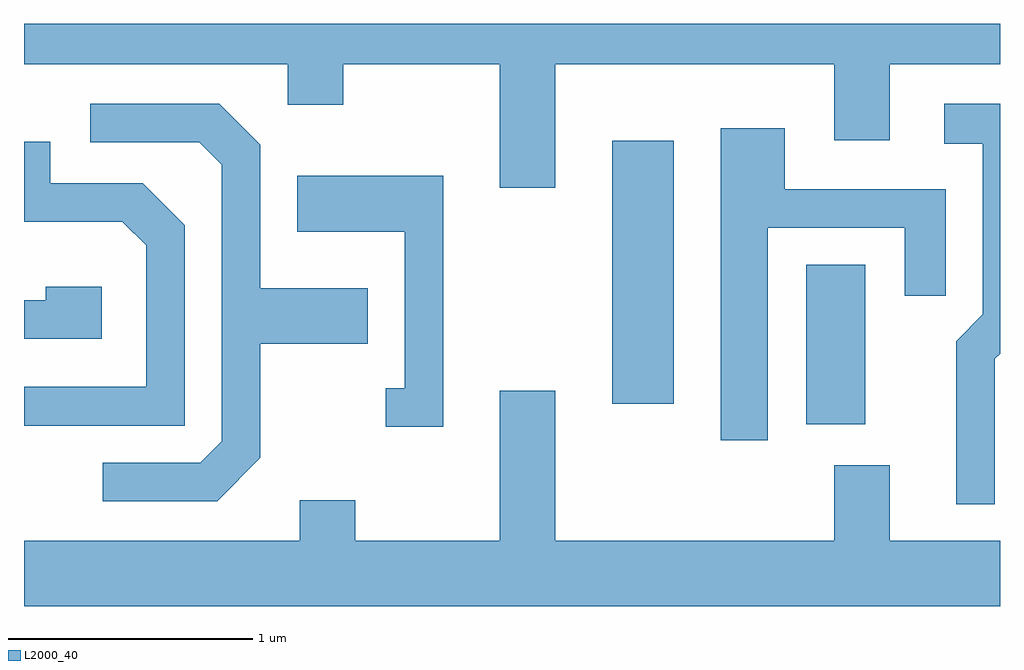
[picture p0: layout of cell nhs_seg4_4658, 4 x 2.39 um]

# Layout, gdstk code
import gdstk
lib = gdstk.Library(unit=1e-6, precision=1e-09)
def R(c, l, rs):  # rectangles x0, y0, x1, y1
    for r in rs: c.add(gdstk.rectangle(r[:2], r[2:], *l))
def P(c, l, *ps):  # polygons
    for p in ps: c.add(gdstk.Polygon(p, *l))
L2000_40 = (2000, 40)

nhs_seg4_4658 = lib.new_cell('nhs_seg4_4658')
R(nhs_seg4_4658, L2000_40, [(324.816,1324.341,325.059,1324.994), (324.021,1324.426,324.274,1325.504)])
P(nhs_seg4_4658, L2000_40, [(323.789,1325.816),(324.931,1325.816),(324.931,1325.506),(325.159,1325.506),(325.159,1325.816),(325.611,1325.816),(325.611,1325.982),(321.611,1325.982),(321.611,1325.816),(322.691,1325.816),(322.691,1325.651),(322.919,1325.651),(322.919,1325.816),(323.561,1325.816),(323.561,1325.311),(323.789,1325.311)],
  [(322.579,1324.204),(322.579,1324.671),(323.019,1324.671),(323.019,1324.899),(322.579,1324.899),(322.579,1325.487),(322.412,1325.654),(321.883,1325.654),(321.883,1325.496),(322.329,1325.496),(322.421,1325.404),(322.421,1324.272),(322.334,1324.184),(321.933,1324.184),(321.933,1324.026),(322.402,1324.026)],
  [(325.589,1324.609),(325.611,1324.631),(325.611,1325.654),(325.383,1325.654),(325.383,1325.491),(325.541,1325.491),(325.541,1324.792),(325.431,1324.682),(325.431,1324.013),(325.589,1324.013)],
  [(324.659,1325.146),(325.221,1325.146),(325.221,1324.868),(325.389,1324.868),(325.389,1325.304),(324.729,1325.304),(324.729,1325.554),(324.466,1325.554),(324.466,1324.276),(324.659,1324.276)],
  [(322.269,1325.157),(322.097,1325.329),(321.719,1325.329),(321.719,1325.499),(321.611,1325.499),(321.611,1325.171),(322.014,1325.171),(322.111,1325.074),(322.111,1324.494),(321.611,1324.494),(321.611,1324.336),(322.269,1324.336)],
  [(323.329,1325.359),(322.731,1325.359),(322.731,1325.131),(323.171,1325.131),(323.171,1324.489),(323.093,1324.489),(323.093,1324.331),(323.329,1324.331)],
  [(321.929,1324.904),(321.701,1324.904),(321.701,1324.849),(321.611,1324.849),(321.611,1324.691),(321.929,1324.691)],
  [(325.611,1323.864),(325.159,1323.864),(325.159,1324.174),(324.931,1324.174),(324.931,1323.864),(323.789,1323.864),(323.789,1324.479),(323.561,1324.479),(323.561,1323.864),(322.969,1323.864),(322.969,1324.029),(322.741,1324.029),(322.741,1323.864),(321.611,1323.864),(321.611,1323.596),(325.611,1323.596)])

lib.write_gds('nhs_seg4_4658.gds')
